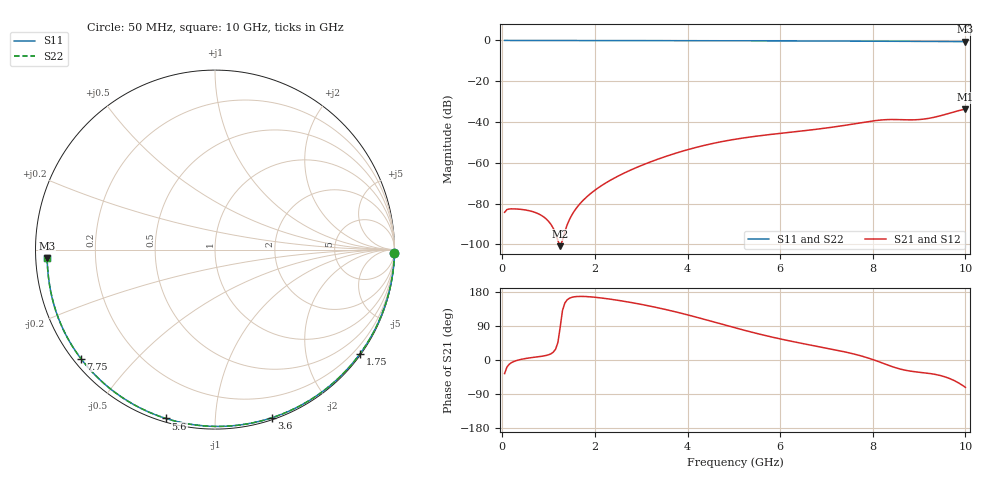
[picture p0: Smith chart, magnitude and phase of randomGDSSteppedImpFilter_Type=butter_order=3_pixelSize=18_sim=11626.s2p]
! freq	dB(S11)	phase(S11)	dB(S12)	phase(S12)
!  dB(S21)	phase(S21)	dB(S22)	phase(S22)
!S-par simulation data
#  GHz  S  DB  R 50
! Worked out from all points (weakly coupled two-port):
!   200 points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, 50 MHz to 10 GHz, reference 50 ohm
!   highest |S21| = -33.70 dB at 10 GHz (marker M1); lowest = -100.9 dB at 1.25 GHz (marker M2)
!   lowest |S11| = -0.6 dB at 10 GHz (marker M3), VSWR 30.69, Z = 1.63 - j1.24 ohm
!   |S11| at or under -10 dB: nowhere
!   |S22| runs from -0.6 to 0.0 dB; largest |S21 - S12| = 0
!   S11 on the Smith chart (normalised r, x): 50 MHz: open; 1.75 GHz: 0.03, -3.09; 3.6 GHz: 0.02, -1.39; 5.6 GHz: 0.02, -0.75; 7.75 GHz: 0.02, -0.35; 10 GHz: 0.03, -0.02
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0.05  -0.00 -1.0  -84.28 -35.7  -84.28 -35.7  -0.00 -1.0
0.65  -0.02 -13.5  -83.91 6.6  -83.91 6.6  -0.02 -13.5
1.25  -0.03 -25.8  -100.89 86.4  -100.89 86.4  -0.03 -25.8
1.65  -0.04 -33.8  -80.80 167.8  -80.80 167.8  -0.04 -33.8
1.7  -0.04 -34.8  -79.50 167.9  -79.50 167.9  -0.04 -34.8
1.75  -0.05 -35.8  -78.30 167.8  -78.30 167.8  -0.05 -35.8
1.9  -0.05 -38.8  -75.21 166.7  -75.21 166.7  -0.05 -38.8
2.05  -0.05 -41.8  -72.62 164.9  -72.62 164.9  -0.05 -41.8
2.4  -0.06 -48.6  -67.72 159.3  -67.72 159.3  -0.06 -48.6
2.85  -0.07 -57.3  -62.78 150.2  -62.78 150.2  -0.07 -57.3
3.4  -0.09 -67.6  -57.90 136.7  -57.90 136.7  -0.09 -67.6
3.6  -0.10 -71.3  -56.35 131.2  -56.35 131.2  -0.10 -71.3
4.3  -0.12 -83.9  -51.80 109.4  -51.80 109.4  -0.12 -83.9
5.05  -0.15 -96.9  -48.37 84.2  -48.37 84.2  -0.15 -96.9
5.6  -0.18 -106.2  -46.62 66.9  -46.62 66.9  -0.18 -106.2
6.7  -0.25 -124.2  -43.79 38.3  -43.79 38.3  -0.25 -124.1
7.75  -0.33 -140.9  -40.34 10.8  -40.34 10.8  -0.33 -140.9
8.35  -0.38 -150.5  -38.79 -14.4  -38.79 -14.4  -0.38 -150.5
8.85  -0.44 -158.6  -38.95 -30.0  -38.95 -30.0  -0.44 -158.6
9.1  -0.47 -162.7  -38.57 -33.6  -38.57 -33.6  -0.47 -162.7
9.4  -0.51 -167.6  -37.28 -39.3  -37.28 -39.3  -0.51 -167.5
10  -0.57 -177.1  -33.70 -72.1  -33.70 -72.1  -0.57 -177.1
